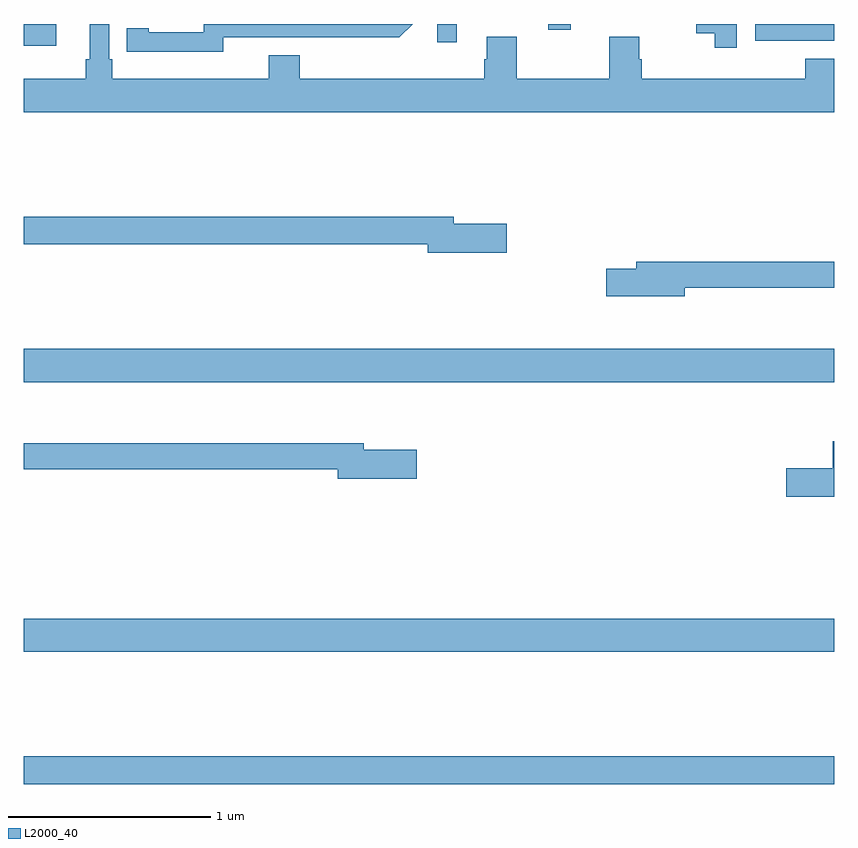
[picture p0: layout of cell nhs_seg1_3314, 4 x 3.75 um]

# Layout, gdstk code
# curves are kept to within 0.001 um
import gdstk
lib = gdstk.Library(unit=1e-6, precision=1e-09)
def R(c, l, rs):  # rectangles x0, y0, x1, y1
    for r in rs: c.add(gdstk.rectangle(r[:2], r[2:], *l))
def P(c, l, *ps):  # polygons
    for p in ps: c.add(gdstk.Polygon(p, *l))
L2000_40 = (2000, 40)

nhs_seg1_3314 = lib.new_cell('nhs_seg1_3314')
R(nhs_seg1_3314, L2000_40, [(291,516.448,295,516.584), (291,517.1,295,517.264), (291,518.432,295,518.596), (291,520.092,291.16,520.199), (293.04,520.11,293.137,520.199), (294.609,520.116,295,520.199), (293.588,520.17,293.699,520.199)])
P(nhs_seg1_3314, L2000_40, [(295,520.027),(294.857,520.027),(294.857,519.928),(294.05,519.928),(294.05,520.026),(294.037,520.026),(294.037,520.136),(293.89,520.136),(293.89,519.928),(293.433,519.928),(293.433,520.136),(293.285,520.136),(293.285,520.026),(293.273,520.026),(293.273,519.928),(292.361,519.928),(292.361,520.045),(292.208,520.045),(292.208,519.928),(291.437,519.928),(291.437,520.024),(291.423,520.024),(291.423,520.199),(291.326,520.199),(291.326,520.024),(291.307,520.024),(291.307,519.928),(291,519.928),(291,519.764),(295,519.764)],
  [(291.984,520.134),(292.852,520.133),(292.919,520.199),(291.888,520.199),(291.888,520.158),(291.616,520.158),(291.616,520.178),(291.508,520.178),(291.508,520.062),(291.984,520.061)],
  [(294.519,520.199),(294.318,520.199),(294.318,520.153),(294.411,520.153),(294.411,520.083),(294.519,520.083)],
  [(293.383,519.212),(293.122,519.212),(293.122,519.248),(291,519.248),(291,519.112),(292.994,519.112),(292.994,519.07),(293.383,519.07)],
  [(294.262,518.898),(295,518.898),(295,519.026),(294.023,519.026),(294.023,518.99),(293.874,518.99),(293.874,518.855),(294.262,518.855)],
  [(295,518.14),(294.992,518.14),(294.992,518.007),(294.762,518.007),(294.762,517.865),(295,517.865)],
  [(292.939,518.097),(292.678,518.097),(292.678,518.131),(291,518.131),(291,518.002),(292.55,518.002),(292.55,517.955),(292.939,517.955)])

lib.write_gds('nhs_seg1_3314.gds')
